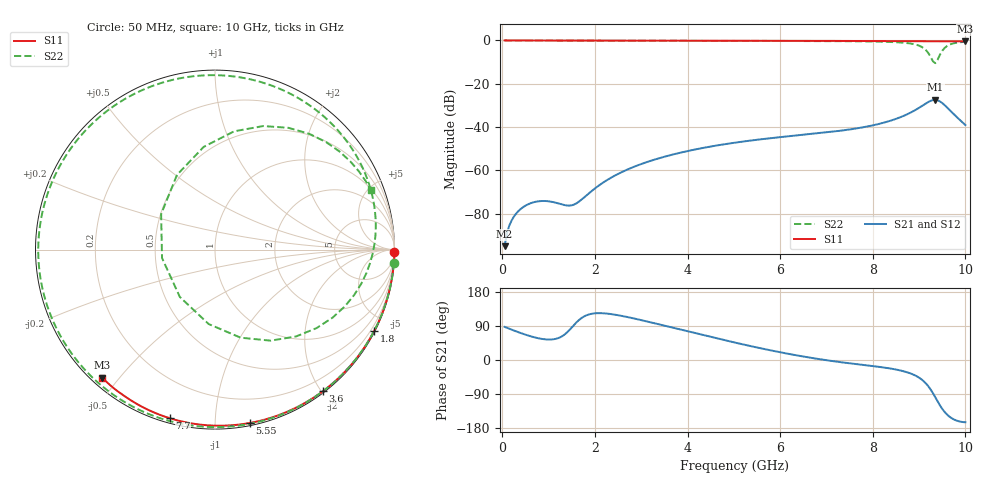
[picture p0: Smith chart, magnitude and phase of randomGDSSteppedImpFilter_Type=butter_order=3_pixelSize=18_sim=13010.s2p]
! freq	dB(S11)	phase(S11)	dB(S12)	phase(S12)
!  dB(S21)	phase(S21)	dB(S22)	phase(S22)
!S-par simulation data
#  GHz  S  DB  R 50
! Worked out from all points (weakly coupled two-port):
!   200 points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, 50 MHz to 10 GHz, reference 50 ohm
!   highest |S21| = -27.44 dB at 9.35 GHz (marker M1); lowest = -95.1 dB at 50 MHz (marker M2)
!   lowest |S11| = -0.4 dB at 10 GHz (marker M3), VSWR 39.58, Z = 1.52 - j22.6 ohm
!   |S11| at or under -10 dB: nowhere
!   |S22| runs from -10.5 to 0.0 dB; largest |S21 - S12| = 0
!   S11 on the Smith chart (normalised r, x): 50 MHz: open; 1.8 GHz: 0.04, -4.18; 3.6 GHz: 0.02, -2.02; 5.55 GHz: 0.02, -1.22; 7.7 GHz: 0.02, -0.77; 10 GHz: 0.03, -0.45
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0.05  -0.00 -0.8  -95.08 87.5  -95.08 87.5  -0.00 -4.2
0.3  -0.01 -4.5  -79.99 75.5  -79.99 75.5  -0.03 -24.9
0.5  -0.01 -7.6  -76.35 66.9  -76.35 66.9  -0.05 -40.9
0.85  -0.02 -12.8  -74.21 55.7  -74.21 55.7  -0.08 -66.8
1.45  -0.03 -21.8  -76.33 79.1  -76.33 79.1  -0.10 -104.3
1.75  -0.03 -26.2  -72.86 113.8  -72.86 113.8  -0.11 -119.9
1.8  -0.03 -26.9  -71.94 117.0  -71.94 117.0  -0.11 -122.3
2.55  -0.05 -37.8  -61.15 117.1  -61.15 117.1  -0.12 -154.3
3.4  -0.07 -49.9  -54.35 93.6  -54.35 93.6  -0.14 176.2
3.6  -0.07 -52.7  -53.18 87.7  -53.18 87.7  -0.14 169.8
5.05  -0.11 -72.2  -47.16 45.2  -47.16 45.2  -0.19 126.9
5.55  -0.13 -78.7  -45.77 31.7  -45.77 31.7  -0.21 112.3
6.7  -0.18 -93.0  -43.17 5.1  -43.17 5.1  -0.28 77.9
7.7  -0.24 -105.0  -40.48 -11.7  -40.48 -11.7  -0.40 44.8
8.35  -0.29 -112.6  -37.31 -21.9  -37.31 -21.9  -0.67 18.6
8.95  -0.34 -119.5  -31.77 -43.0  -31.77 -43.0  -2.05 -23.6
9.2  -0.36 -122.3  -28.43 -69.4  -28.43 -69.4  -5.83 -73.7
9.35  -0.37 -124.0  -27.44 -98.3  -27.44 -98.3  -10.49 -170.9
9.5  -0.38 -125.7  -28.93 -128.9  -28.93 -128.9  -4.79 96.2
9.6  -0.39 -126.9  -30.88 -143.5  -30.88 -143.5  -2.63 68.7
9.75  -0.41 -128.6  -34.08 -156.7  -34.08 -156.7  -1.30 44.0
10  -0.44 -131.4  -39.08 -164.3  -39.08 -164.3  -0.63 20.8
